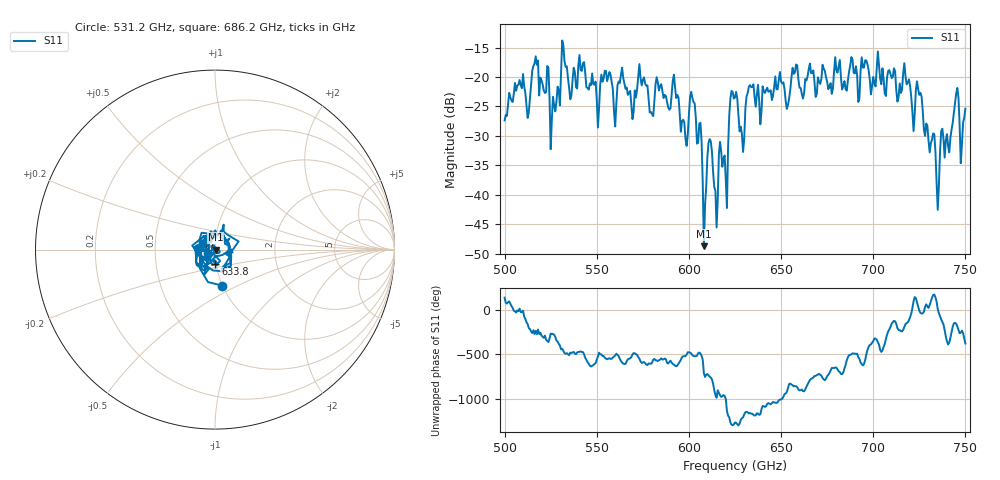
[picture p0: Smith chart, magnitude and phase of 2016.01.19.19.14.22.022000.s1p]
!Created with skrf (http://scikit-rf.org).
# GHz S RI R 50.0
!freq ReS11 ImS11
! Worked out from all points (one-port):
!   401 points, 500 GHz to 750 GHz, reference 50 ohm
!   lowest |S11| = -48.7 dB at 608.1 GHz (marker M1), VSWR 1.01, Z = 50.4 + j0.0417 ohm
!   |S11| at or under -10 dB: start of sweep to end of sweep
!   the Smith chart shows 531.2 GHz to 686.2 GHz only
!   S11 on the Smith chart (normalised r, x): 531.2 GHz: 1.00, -0.42; 633.8 GHz: 0.99, -0.16; 686.2 GHz: 0.83, -0.01
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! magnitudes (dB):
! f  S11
! 500 GHz  -27.4
! 508.8 GHz  -21.4
! 513.1 GHz  -26.0
! 516.9 GHz  -16.5
! 526.2 GHz  -23.4
! 531.2 GHz  -13.8
! 550 GHz  -23.8
! 562.5 GHz  -21.0
! 593.8 GHz  -23.0
! 598.1 GHz  -30.4
! 601.9 GHz  -23.6
! 608.1 GHz  -48.7
! 611.2 GHz  -30.5
! 614.4 GHz  -39.4
! 617.5 GHz  -32.6
! 619.4 GHz  -33.3
! 625 GHz  -23.5
! 628.8 GHz  -29.7
! 633.8 GHz  -21.7
! 656.2 GHz  -18.4
! 686.2 GHz  -20.6
! 687.5 GHz  -18.1
! 718.8 GHz  -20.9
! 725 GHz  -23.0
! 735 GHz  -42.6
! 745 GHz  -22.9
! 748.1 GHz  -31.5
! 750 GHz  -25.4
